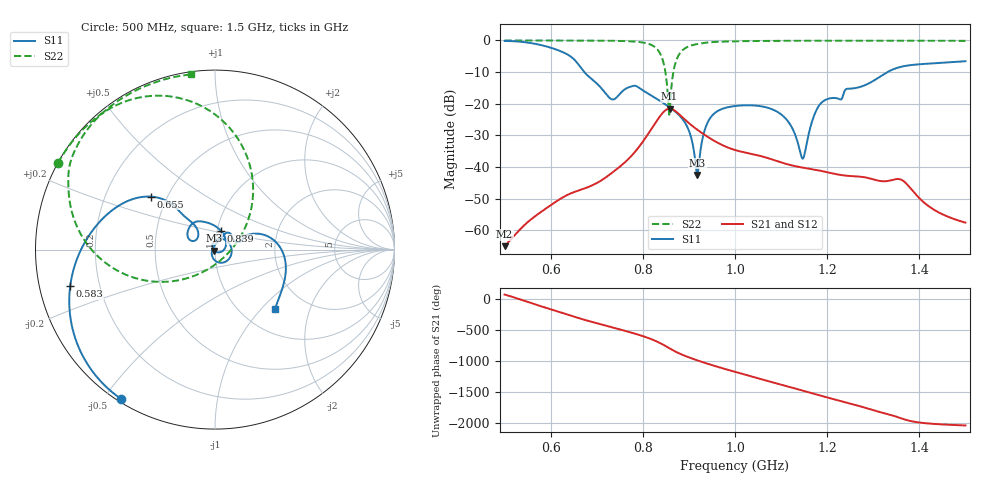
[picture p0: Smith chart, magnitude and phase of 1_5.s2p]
! TOUCHSTONE file generated by CST MICROWAVE STUDIO
! Date and time: Mon Oct 26 12:24:42 2020
! Project name: Scenario_1_Circular_Tissue_out_of_Line.cst
! Parameters = {dy1=-346; L_HA=400; MT=2.54; Rad_Dielectric=30; Rad_Lower=7.3; Rad_Upper=30; a_HA=580; a_WG=246; b_HA=500; b_WG=121; c_HA=0; c_WG=187; d_feed=85; dx1=866; h_feed=15; h_lower=18; h_upper=40}
! Header version: 2018
! Port assignment regex: !\s*Touchstone port\s*([0-9]+)\s*=\s*(CST MWS port|CST DS port)\s*([0-9]+|Zmin|Zmax)\s*\(\"(.*)\"\)(\s*mode\s*([0-9]+))?.*
! Touchstone port assignment:
! Touchstone port 1 = CST MWS port 1 ("")
! Touchstone port 2 = CST MWS port 2 ("")
# GHz S DB R 50
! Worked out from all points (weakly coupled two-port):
!   1001 points, 500 MHz to 1.5 GHz, reference 50 ohm
!   highest |S21| = -21.56 dB at 858 MHz (marker M1); lowest = -65.0 dB at 500 MHz (marker M2)
!   lowest |S11| = -42.5 dB at 918 MHz (marker M3), VSWR 1.02, Z = 49.5 - j0.529 ohm
!   |S11| at or under -10 dB: 673 MHz to 1.331 GHz (657.9 MHz wide, 65.7 % of centre)
!   |S22| runs from -23.5 to 0.0 dB; largest |S21 - S12| = 0.00026
!   S11 on the Smith chart (normalised r, x): 500 MHz: 0.01, -0.55; 583 MHz: 0.09, -0.12; 655 MHz: 0.41, +0.31; 839 MHz: 1.05, +0.22; 1.5 GHz: 1.41, -1.20
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0.5  -0.15 -122.3  -65.02 74.4  -64.97 74.1  -0.01 151.1
0.583  -1.60 -165.9  -53.80 -124.4  -53.71 -125.7  -0.02 145.4
0.655  -6.65 140.6  -47.70 65.4  -47.51 66.0  -0.04 139.5
0.667  -8.91 133.8  -47.10 38.6  -46.95 38.8  -0.04 138.4
0.732  -18.58 144.1  -41.95 -92.5  -41.95 -92.3  -0.11 130.6
0.779  -14.38 136.0  -35.89 170.2  -35.88 170.2  -0.33 120.6
0.834  -18.79 76.8  -24.63 21.8  -24.62 21.6  -3.31 83.2
0.839  -19.26 71.6  -23.63 3.3  -23.62 3.1  -4.59 74.7
0.858  -21.13 50.1  -21.56 -76.3  -21.55 -76.4  -23.17 -69.2
0.877  -23.38 24.2  -23.11 -151.6  -23.10 -151.8  -4.86 -169.2
0.9  -28.52 -18.8  -26.14 137.7  -26.15 137.6  -1.86 167.3
0.918  -42.54 -134.2  -28.20 89.9  -28.20 90.1  -1.14 158.4
0.932  -29.50 113.5  -29.63 55.1  -29.62 55.2  -0.81 153.8
0.945  -24.80 79.5  -30.86 24.0  -30.85 24.1  -0.59 150.2
1  -20.73 2.4  -34.63 -96.0  -34.62 -96.0  -0.27 140.2
1.099  -23.25 -80.9  -38.50 57.7  -38.50 57.7  -0.13 129.8
1.124  -27.66 -111.3  -39.52 7.0  -39.55 7.1  -0.11 127.6
1.146  -37.30 165.1  -40.17 -38.2  -40.20 -38.1  -0.10 125.8
1.167  -25.73 67.9  -40.68 -82.4  -40.70 -82.3  -0.10 124.2
1.193  -19.05 56.2  -41.42 -136.7  -41.43 -136.7  -0.09 122.1
1.334  -9.76 10.4  -44.36 -65.8  -44.35 -66.0  -0.09 111.4
1.5  -6.56 -44.6  -57.58 115.7  -57.61 115.8  -0.13 97.8
